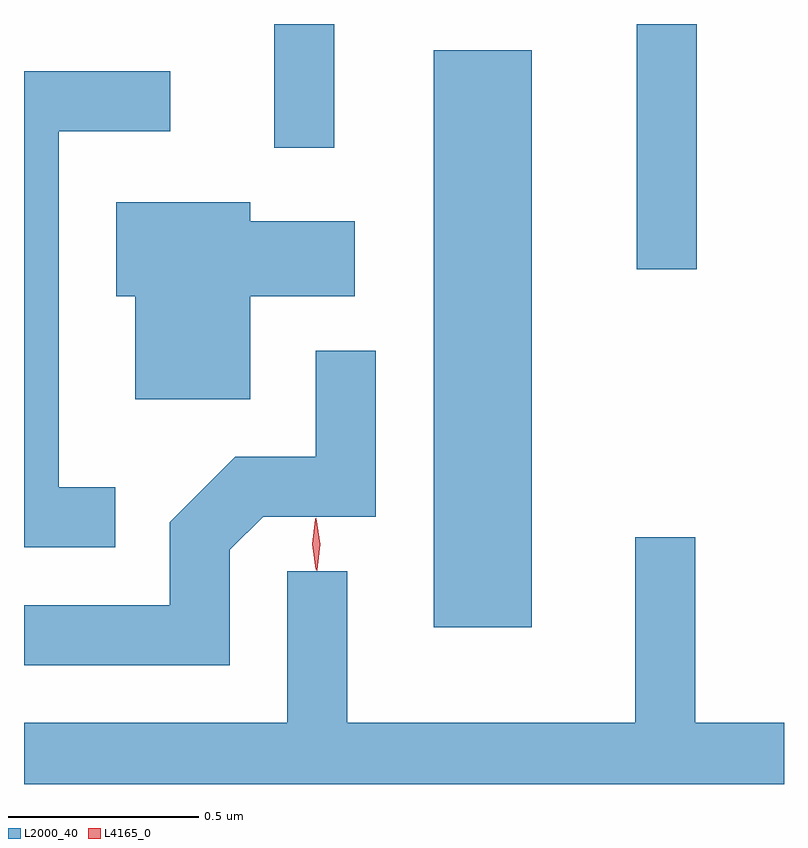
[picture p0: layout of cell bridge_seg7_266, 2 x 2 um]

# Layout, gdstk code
import gdstk
lib = gdstk.Library(unit=1e-6, precision=1e-09)
def R(c, l, rs):  # rectangles x0, y0, x1, y1
    for r in rs: c.add(gdstk.rectangle(r[:2], r[2:], *l))
def P(c, l, *ps):  # polygons
    for p in ps: c.add(gdstk.Polygon(p, *l))
L2000_40 = (2000, 40)
L4165_0 = (4165, 0)

bridge_seg7_266 = lib.new_cell('bridge_seg7_266')
R(bridge_seg7_266, L2000_40, [(1795.566,1708.176,1795.824,1709.694), (1796.101,1709.118,1796.259,1709.763), (1795.146,1709.438,1795.304,1709.763)])
P(bridge_seg7_266, L2000_40, [(1794.728,1708.544),(1794.579,1708.544),(1794.579,1709.481),(1794.873,1709.481),(1794.873,1709.639),(1794.488,1709.639),(1794.488,1708.386),(1794.728,1708.386)],
  [(1795.084,1709.046),(1795.359,1709.046),(1795.359,1709.244),(1795.084,1709.244),(1795.084,1709.294),(1794.731,1709.294),(1794.731,1709.046),(1794.781,1709.046),(1794.781,1708.776),(1795.084,1708.776)],
  [(1795.029,1708.379),(1795.117,1708.466),(1795.414,1708.466),(1795.414,1708.903),(1795.256,1708.903),(1795.256,1708.624),(1795.044,1708.624),(1794.871,1708.452),(1794.871,1708.234),(1794.488,1708.234),(1794.488,1708.076),(1795.029,1708.076)],
  [(1796.488,1707.924),(1796.254,1707.924),(1796.254,1708.413),(1796.096,1708.413),(1796.096,1707.924),(1795.339,1707.924),(1795.339,1708.323),(1795.181,1708.323),(1795.181,1707.924),(1794.488,1707.924),(1794.488,1707.763),(1796.488,1707.763)])
P(bridge_seg7_266, L4165_0, [(1795.256,1708.328),(1795.246,1708.394),(1795.254,1708.46),(1795.255,1708.461),(1795.255,1708.46),(1795.266,1708.394),(1795.257,1708.328),(1795.257,1708.328)],
  [(1795.259,1708.324),(1795.259,1708.325),(1795.248,1708.394),(1795.256,1708.463),(1795.257,1708.463),(1795.257,1708.463),(1795.268,1708.394),(1795.26,1708.325)])

lib.write_gds('bridge_seg7_266.gds')
